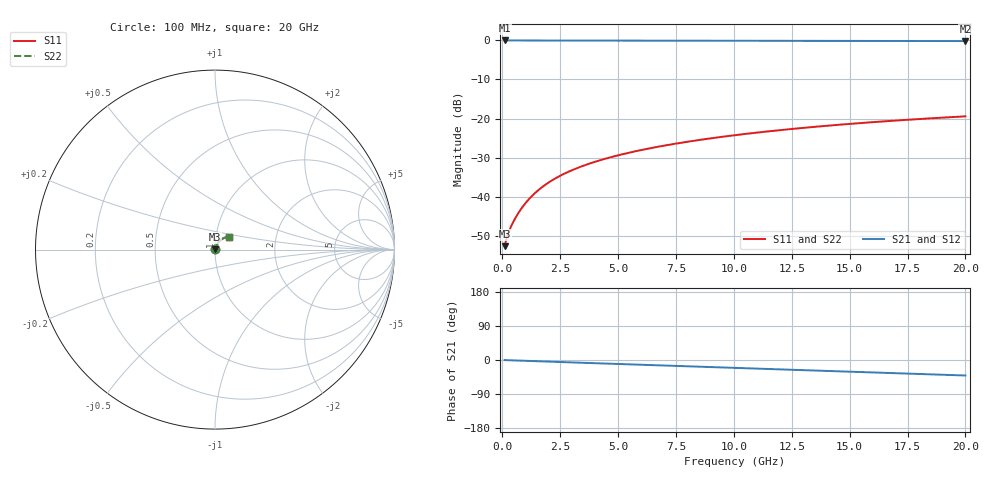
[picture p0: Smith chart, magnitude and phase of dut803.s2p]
! Touchstone file exported from HFSS 2026.1.0
!  File:  C:/ffzhzh/LocalFiles/Ansys_Project_Files/temp_train_BSMRDL_803_1783169749_22436.aedt
!  Generated:  08:56:57 PM Jul  4, 2026
!  Design:  BSMRDL
!  Project:  temp_train_BSMRDL_803_1783169749_22436
! Variables:
!  h_bsmrdl = 5.62um
!  h_ox = 20um
!  h_rdl = 5um
!  h_sub = 80um
!  h_tmrdl = 5um
!  h_tsv = 80um
!  h_via = 3um
!  l_bsmrdl = 719.09um
!  l_sub = 1119.09um
!  l_tmrdl = 200um
!  m_sub = 200um
!  pitch = 35.22um
!  r_tsv = 6um
!  s_tmrdl = 10um
!  w_bsmrdl = 26.19um
!  w_sub = 500um
!  w_tmrdl = 12um
!  x_tsv_center1 = 206um
!  x_tsv_center2 = 951.28um
!  x_tsv_center3 = 1163.28um
!  x_tsv_center4 = 1908.56um
!  x_tsv_center5 = 2120.56um
!  x_tsv_center6 = 2865.84um
# GHz S MA R 50.000000
! Terminal data exported
! Port[1] = BSM_RDL1_1_T1
! Port[2] = BSM_RDL1_1_T2
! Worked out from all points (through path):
!   200 points, 100 MHz to 20 GHz, reference 50 ohm
!   highest |S21| = -0.02 dB at 100 MHz (marker M1); lowest = -0.2 dB at 20 GHz (marker M2)
!   group delay of S21, straight-line fit = 5.66 ps
!   lowest |S11| = -52.6 dB at 100 MHz (marker M3), VSWR 1.00, Z = 50.2 + j0.115 ohm
!   |S11| at or under -10 dB: start of sweep to end of sweep
!   |S22| runs from -52.6 to -19.4 dB; largest |S21 - S12| = 4e-15
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0.1  0.002338 29.3  0.998 -0.2  0.998 -0.2  0.002338 29.3
! Gamma 0 0 0 0
! Port Impedance 50 0 50 0
0.2  0.003069 39.9  0.9977 -0.5  0.9977 -0.5  0.00307 39.9
0.3  0.003702 46.2  0.9975 -0.7  0.9975 -0.7  0.003702 46.2
0.5  0.004929 55.1  0.9973 -1.1  0.9973 -1.1  0.004929 55.1
0.7  0.00623 60.9  0.9971 -1.5  0.9971 -1.5  0.00623 60.9
0.9  0.007591 64.6  0.997 -1.9  0.997 -1.9  0.00759 64.6
1.1  0.00898 67.0  0.9968 -2.4  0.9968 -2.4  0.00898 67.0
1.3  0.01038 68.5  0.9966 -2.8  0.9966 -2.8  0.01038 68.5
1.7  0.01317 70.0  0.9962 -3.6  0.9962 -3.6  0.01317 70.0
2.2  0.01659 70.5  0.9956 -4.7  0.9956 -4.7  0.01659 70.5
2.8  0.02054 70.3  0.9949 -6.0  0.9949 -6.0  0.02054 70.3
3.5  0.02496 69.5  0.994 -7.4  0.994 -7.4  0.02496 69.5
4.2  0.02922 68.6  0.9932 -8.9  0.9932 -8.9  0.02921 68.6
5  0.03391 67.5  0.9923 -10.5  0.9923 -10.5  0.03391 67.5
5.9  0.03905 66.1  0.9914 -12.3  0.9914 -12.3  0.03905 66.1
6.8  0.04406 64.8  0.9906 -14.2  0.9906 -14.2  0.04406 64.8
8.3  0.0522 62.4  0.9892 -17.2  0.9892 -17.2  0.05219 62.4
10.1  0.06164 59.5  0.9877 -20.9  0.9877 -20.9  0.06163 59.5
11.7  0.06974 56.7  0.9864 -24.2  0.9864 -24.2  0.06973 56.8
13.4  0.07804 53.8  0.985 -27.6  0.985 -27.6  0.07802 53.8
16.7  0.09316 47.9  0.9823 -34.3  0.9823 -34.3  0.09312 47.9
20  0.1068 41.8  0.9798 -40.9  0.9798 -40.9  0.1068 41.8
